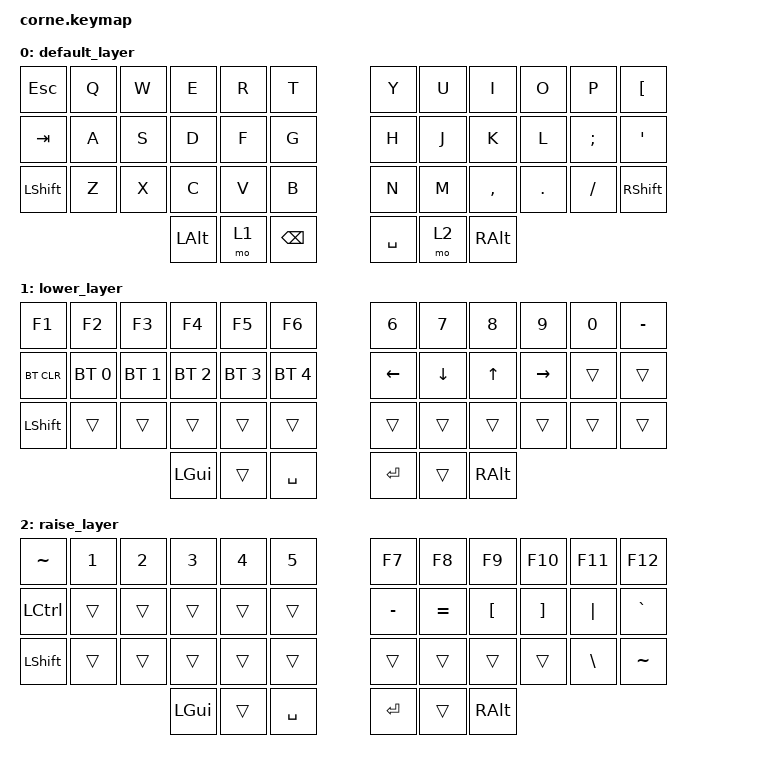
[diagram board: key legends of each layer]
/*
 * Copyright (c) 2020 The ZMK Contributors
 *
 * SPDX-License-Identifier: MIT
 */

#include <behaviors.dtsi>
#include <dt-bindings/zmk/keys.h>
#include <dt-bindings/zmk/bt.h>

/ {
        keymap {
                compatible = "zmk,keymap";

                default_layer {
// -----------------------------------------------------------------------------------------
// | ESC  |  Q  |  W  |  E  |  R  |  T  |   | Y/Z |  U   |  I  |  O  |  P  |  Ü   |
// | TAB  |  A  |  S  |  D  |  F  |  G  |   |  H  |  J   |  K  |  L  |  Ö  |  Ä   |
// | SHFT | Z/Y |  X  |  C  |  V  |  B  |   |  N  |  M   |  ,  |  .  |  -  | SHFT |
//                    | ALT | LWR | BSPC|   | SPC | RSE  | ALT |
                        bindings = <
   &kp ESC   &kp Q &kp W &kp E &kp R &kp T   &kp Y &kp U  &kp I     &kp O   &kp P    &kp LEFT_BRACKET
   &kp TAB   &kp A &kp S &kp D &kp F &kp G   &kp H &kp J  &kp K     &kp L   &kp SEMI &kp SQT
   &kp LSHFT &kp Z &kp X &kp C &kp V &kp B   &kp N &kp M  &kp COMMA &kp DOT &kp FSLH &kp RSHFT
                  &kp LALT &mo 1 &kp BSPC    &kp SPACE &mo 2 &kp RALT
                        >;
                };
                lower_layer {
// -----------------------------------------------------------------------------------------
// | F1   | F2  | F3  | F4  | F5  | F6  |   |  6  |  7  |  8  |  9  |  0  |  ß   |
// | BTCLR| BT1 | BT2 | BT3 | BT4 | BT5 |   | LFT | DWN |  UP | RGT |     |      |
// | SHFT |     |     |     |     |     |   |     |     |     |     |     |      |
//                    | GUI |     | SPC |   | ENT |     | ALT |
                        bindings = <
   &kp F1     &kp F2       &kp F3       &kp F4       &kp F5       &kp F6            &kp N6   &kp N7   &kp N8 &kp N9    &kp N0 &kp MINUS
   &bt BT_CLR &bt BT_SEL 0 &bt BT_SEL 1 &bt BT_SEL 2 &bt BT_SEL 3 &bt BT_SEL 4      &kp LEFT &kp DOWN &kp UP &kp RIGHT &trans &trans
   &kp LSHFT  &trans       &trans       &trans       &trans       &trans            &trans   &trans   &trans &trans    &trans &trans
                                        &kp LGUI     &trans       &kp SPACE         &kp RET &trans &kp RALT
                        >;
                };

                raise_layer {
// -----------------------------------------------------------------------------------------
// |  ^   |  1  |  2  |  3  |  4  |  5  |   | F7  | F8  | F9  | F10 | F11 | F12  |
// | CTRL |     |     |     |     |     |   |  -  |  =  |  {  |  }  | "|" |  `   |
// | SHFT |     |     |     |     |     |   |  _  |  +  |  [  |  ]  |  \  |  ~   | // TODO: Fix this row when &mkp is committed
//                    | GUI |     | SPC |   | ENT |     | ALT |
                        bindings = <
   &kp TILDE &kp N1    &kp N2  &kp N3    &kp N4    &kp N5      &kp F7    &kp F8    &kp F9    &kp F10  &kp F11  &kp F12
   &kp LCTRL &trans    &trans  &trans    &trans    &trans      &kp MINUS &kp EQUAL &kp LBKT  &kp RBKT &kp PIPE &kp GRAVE
   &kp LSHFT &trans    &trans  &trans    &trans    &trans      &trans    &trans    &trans    &trans   &kp BSLH &kp TILDE
                                   &kp LGUI &trans &kp SPACE   &kp RET &trans &kp RALT
                        >;
                };
        };
};
